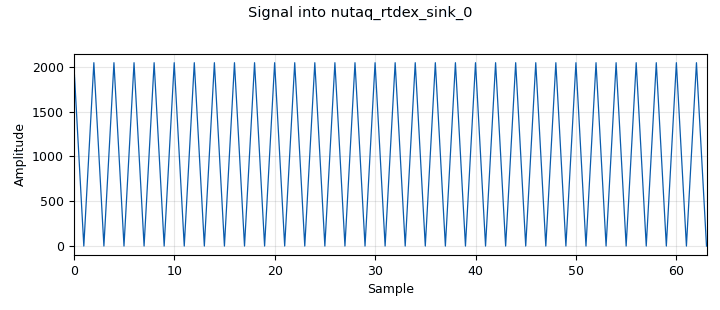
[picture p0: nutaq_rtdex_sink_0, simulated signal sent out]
<?xml version='1.0' encoding='utf-8'?>
<flow_graph>
<block>
<key>options</key>
<param><key>id</key><value>perseus_voice_gmsk</value></param>
<param><key>title</key><value>Perseus Voice GMSK</value></param>
<param><key>generate_options</key><value>wx_gui</value></param>
<param><key>category</key><value>Custom</value></param>
<param><key>realtime_scheduling</key><value>1</value></param>
</block>
<block>
<key>variable</key>
<param><key>id</key><value>data_rate</value></param>
<param><key>value</key><value>20e6</value></param>
</block>
<block>
<key>blocks_interleave</key>
<param><key>id</key><value>blocks_interleave_0</value></param>
<param><key>type</key><value>short</value></param>
</block>
<block>
<key>blocks_float_to_short</key>
<param><key>id</key><value>blocks_float_to_short_0_0_0</value></param>
<param><key>scale</key><value>2**11-1</value></param>
</block>
<block>
<key>blocks_float_to_short</key>
<param><key>id</key><value>blocks_float_to_short_0_0</value></param>
<param><key>scale</key><value>2**11-1</value></param>
</block>
<block>
<key>blocks_complex_to_float</key>
<param><key>id</key><value>blocks_complex_to_float_0</value></param>
</block>
<block>
<key>nutaq_custom_register</key>
<param><key>id</key><value>nutaq_custom_register_0_1</value></param>
<param><key>target_id</key><value>nutaq_carrier_perseus_TX</value></param>
<param><key>block_priority</key><value>6</value></param>
<param><key>index</key><value>0</value></param>
<param><key>value</key><value>000000</value></param>
<param><key>update_rate</key><value>1</value></param>
</block>
<block>
<key>blocks_float_to_int</key>
<param><key>id</key><value>blocks_float_to_int_0_0</value></param>
<param><key>scale</key><value>1</value></param>
</block>
<block>
<key>nutaq_custom_register</key>
<param><key>id</key><value>nutaq_custom_register_0_1_0</value></param>
<param><key>target_id</key><value>nutaq_carrier_perseus_TX</value></param>
<param><key>block_priority</key><value>7</value></param>
<param><key>index</key><value>2</value></param>
<param><key>value</key><value>00000</value></param>
<param><key>update_rate</key><value>1</value></param>
</block>
<block>
<key>blocks_float_to_int</key>
<param><key>id</key><value>blocks_float_to_int_0</value></param>
<param><key>scale</key><value>1</value></param>
</block>
<block>
<key>nutaq_custom_register</key>
<param><key>id</key><value>nutaq_custom_register_0_0_0</value></param>
<param><key>target_id</key><value>nutaq_carrier_perseus_TX</value></param>
<param><key>block_priority</key><value>8</value></param>
<param><key>index</key><value>3</value></param>
<param><key>value</key><value>7</value></param>
<param><key>update_rate</key><value>1</value></param>
</block>
<block>
<key>analog_const_source_x</key>
<param><key>id</key><value>analog_const_source_x_0_0</value></param>
<param><key>type</key><value>float</value></param>
<param><key>const</key><value>0*1e5*(2**32)/data_rate</value></param>
</block>
<block>
<key>nutaq_custom_register</key>
<param><key>id</key><value>nutaq_custom_register_0_1_1</value></param>
<param><key>target_id</key><value>nutaq_carrier_perseus_TX</value></param>
<param><key>block_priority</key><value>9</value></param>
<param><key>index</key><value>6</value></param>
<param><key>value</key><value>820</value></param>
<param><key>update_rate</key><value>1</value></param>
</block>
<block>
<key>nutaq_rtdex_sink</key>
<param><key>id</key><value>nutaq_rtdex_sink_0</value></param>
<param><key>target_id</key><value>nutaq_carrier_perseus_TX</value></param>
<param><key>block_priority</key><value>2</value></param>
<param><key>type</key><value>short</value></param>
<param><key>media_type</key><value>0</value></param>
<param><key>packet_size</key><value>1024</value></param>
<param><key>num_chan</key><value>1</value></param>
<param><key>channels</key><value>1</value></param>
</block>
<block>
<key>variable_slider</key>
<param><key>id</key><value>fm</value></param>
<param><key>label</key><value>Modulation Frequency</value></param>
<param><key>value</key><value>0</value></param>
<param><key>min</key><value>-50e3</value></param>
<param><key>max</key><value>50e3</value></param>
<param><key>num_steps</key><value>100</value></param>
<param><key>style</key><value>wx.SL_HORIZONTAL</value></param>
<param><key>converver</key><value>float_converter</value></param>
</block>
<block>
<key>analog_sig_source_x</key>
<param><key>id</key><value>analog_sig_source_x_0</value></param>
<param><key>type</key><value>complex</value></param>
<param><key>samp_rate</key><value>data_rate/40</value></param>
<param><key>waveform</key><value>analog.GR_SIN_WAVE</value></param>
<param><key>freq</key><value>fm</value></param>
<param><key>amp</key><value>1</value></param>
<param><key>offset</key><value>0</value></param>
</block>
<block>
<key>nutaq_custom_register</key>
<param><key>id</key><value>nutaq_custom_register_0</value></param>
<param><key>target_id</key><value>nutaq_carrier_perseus_TX</value></param>
<param><key>block_priority</key><value>4</value></param>
<param><key>index</key><value>1</value></param>
<param><key>value</key><value>3</value></param>
<param><key>update_rate</key><value>1</value></param>
</block>
<block>
<key>nutaq_carrier_perseus</key>
<param><key>id</key><value>nutaq_carrier_perseus_TX</value></param>
<param><key>ip_addr</key><value>192.168.0.101</value></param>
</block>
<block>
<key>nutaq_custom_register</key>
<param><key>id</key><value>nutaq_custom_register_0_0</value></param>
<param><key>target_id</key><value>nutaq_carrier_perseus_TX</value></param>
<param><key>block_priority</key><value>5</value></param>
<param><key>index</key><value>4</value></param>
<param><key>value</key><value>0</value></param>
<param><key>update_rate</key><value>1</value></param>
</block>
<block>
<key>nutaq_radio420_tx</key>
<param><key>id</key><value>nutaq_radio420_tx_0_0</value></param>
<param><key>target_id</key><value>nutaq_carrier_perseus_TX</value></param>
<param><key>block_priority</key><value>0</value></param>
<param><key>selected_card</key><value>1</value></param>
<param><key>enable</key><value>1</value></param>
<param><key>reference</key><value>0</value></param>
<param><key>tx_freq</key><value>943e6</value></param>
<param><key>datarate</key><value>data_rate*2</value></param>
<param><key>calibrate</key><value>0</value></param>
<param><key>band</key><value>0</value></param>
<param><key>update_rate</key><value>1</value></param>
<param><key>tx_vga1_gain</key><value>-10</value></param>
<param><key>tx_vga2_gain</key><value>15</value></param>
<param><key>tx_gain3</key><value>3</value></param>
<param><key>tx_lpf_bandwidth</key><value>6</value></param>
<param><key>ref_clk_ctrl</key><value>0</value></param>
<param><key>rf_ctrl</key><value>0</value></param>
<param><key>tx_gain_ctrl</key><value>0</value></param>
<param><key>pll_cpld_ctrl</key><value>0</value></param>
</block>
<block>
<key>analog_const_source_x</key>
<param><key>id</key><value>analog_const_source_x_0</value></param>
<param><key>type</key><value>float</value></param>
<param><key>const</key><value>1e5*(2**32)/data_rate</value></param>
</block>
<block>
<key>nutaq_radio420_rx</key>
<param><key>id</key><value>nutaq_radio420_rx_0</value></param>
<param><key>target_id</key><value>nutaq_carrier_perseus_TX</value></param>
<param><key>block_priority</key><value>1</value></param>
<param><key>selected_card</key><value>1</value></param>
<param><key>enable</key><value>1</value></param>
<param><key>reference</key><value>0</value></param>
<param><key>rx_freq</key><value>943e6</value></param>
<param><key>datarate</key><value>data_rate*2</value></param>
<param><key>calibrate</key><value>0</value></param>
<param><key>band</key><value>0</value></param>
<param><key>update_rate</key><value>1</value></param>
<param><key>rx_lna_gain</key><value>2</value></param>
<param><key>rx_vga1_gain</key><value>1</value></param>
<param><key>rx_gain2</key><value>16</value></param>
<param><key>rx_gain3</key><value>5</value></param>
<param><key>rx_lpf_bandwidth</key><value>6</value></param>
<param><key>rx_rf_filter</key><value>2</value></param>
<param><key>ref_clk_ctrl</key><value>0</value></param>
<param><key>rf_ctrl</key><value>0</value></param>
<param><key>rx_gain_ctrl</key><value>0</value></param>
<param><key>pll_cpld_ctrl</key><value>0</value></param>
</block>
<connection><source_block_id>analog_sig_source_x_0</source_block_id><sink_block_id>blocks_complex_to_float_0</sink_block_id><source_key>0</source_key><sink_key>0</sink_key></connection>
<connection><source_block_id>blocks_complex_to_float_0</source_block_id><sink_block_id>blocks_float_to_short_0_0</sink_block_id><source_key>0</source_key><sink_key>0</sink_key></connection>
<connection><source_block_id>blocks_float_to_short_0_0</source_block_id><sink_block_id>blocks_interleave_0</sink_block_id><source_key>0</source_key><sink_key>0</sink_key></connection>
<connection><source_block_id>blocks_interleave_0</source_block_id><sink_block_id>nutaq_rtdex_sink_0</sink_block_id><source_key>0</source_key><sink_key>0</sink_key></connection>
<connection><source_block_id>blocks_complex_to_float_0</source_block_id><sink_block_id>blocks_float_to_short_0_0_0</sink_block_id><source_key>1</source_key><sink_key>0</sink_key></connection>
<connection><source_block_id>blocks_float_to_short_0_0_0</source_block_id><sink_block_id>blocks_interleave_0</sink_block_id><source_key>0</source_key><sink_key>1</sink_key></connection>
<connection><source_block_id>blocks_float_to_int_0_0</source_block_id><sink_block_id>nutaq_custom_register_0_1_0</sink_block_id><source_key>0</source_key><sink_key>0</sink_key></connection>
<connection><source_block_id>blocks_float_to_int_0</source_block_id><sink_block_id>nutaq_custom_register_0_1</sink_block_id><source_key>0</source_key><sink_key>0</sink_key></connection>
<connection><source_block_id>analog_const_source_x_0_0</source_block_id><sink_block_id>blocks_float_to_int_0_0</sink_block_id><source_key>0</source_key><sink_key>0</sink_key></connection>
<connection><source_block_id>analog_const_source_x_0</source_block_id><sink_block_id>blocks_float_to_int_0</sink_block_id><source_key>0</source_key><sink_key>0</sink_key></connection>
</flow_graph>
